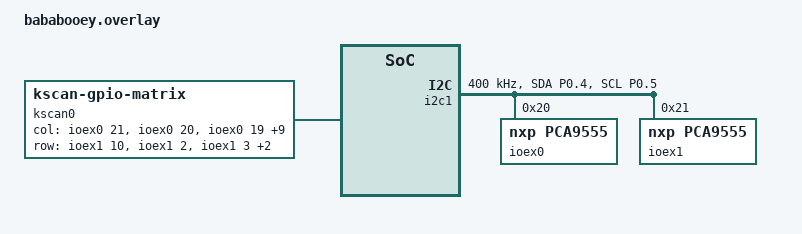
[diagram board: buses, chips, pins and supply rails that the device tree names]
&i2c1 {
    status = "okay";
    compatible = "nordic,nrf-twim";
    pinctrl-0 = <&i2c1_default>;
    pinctrl-1 = <&i2c1_sleep>;
    pinctrl-names = "default", "sleep";
    clock-frequency = <I2C_BITRATE_FAST>;

    ioex0: pca9555@20 {
        status = "okay";
        compatible = "nxp,pca9555";
        reg = <0x20>;
        gpio-controller;
        #gpio-cells = <2>;
        ngpios = <16>;
    };

    ioex1: pca9555@21 {
        status = "okay";
        compatible = "nxp,pca9555";
        reg = <0x21>;
        gpio-controller;
        #gpio-cells = <2>;
        ngpios = <16>;
    };
};

&pinctrl {
    i2c1_default: i2c1_default {
        group1 {
            psels = <NRF_PSEL(TWIM_SDA, 0, 4)>,
                <NRF_PSEL(TWIM_SCL, 0, 5)>;
        };
    };

    i2c1_sleep: i2c1_sleep {
        group1 {
            psels = <NRF_PSEL(TWIM_SDA, 0, 4)>,
                <NRF_PSEL(TWIM_SCL, 0, 5)>;
            low-power-enable;
        };
    };
};

/ {
    chosen {
        zmk,kscan = &kscan0;
    };

    kscan0: kscan_0 {
        compatible = "zmk,kscan-gpio-matrix";
        wakeup-source;
        diode-direction = "col2row";
        poll-period-ms = <5>;

        col-gpios
            = <&ioex0 21 GPIO_ACTIVE_HIGH> // col 0
            , <&ioex0 20 GPIO_ACTIVE_HIGH> // col 1
            , <&ioex0 19 GPIO_ACTIVE_HIGH> // col 2
            , <&ioex0 18 GPIO_ACTIVE_HIGH> // col 3
            , <&ioex0 15 GPIO_ACTIVE_HIGH> // col 4
            , <&ioex0 14 GPIO_ACTIVE_HIGH> // col 5
            , <&ioex0 16 GPIO_ACTIVE_HIGH> // col 6
            , <&ioex0 6 GPIO_ACTIVE_HIGH> // col 7
            , <&ioex0 7 GPIO_ACTIVE_HIGH> // col 8
            , <&ioex0 8 GPIO_ACTIVE_HIGH> // col 9
            , <&ioex0 9 GPIO_ACTIVE_HIGH> // col 10
            , <&ioex0 1 GPIO_ACTIVE_HIGH> // col 11
            ;

        row-gpios
            = <&ioex1 10 (GPIO_ACTIVE_HIGH | GPIO_PULL_DOWN)> // row 0
            , <&ioex1 2 (GPIO_ACTIVE_HIGH | GPIO_PULL_DOWN)> // row 1
            , <&ioex1 3 (GPIO_ACTIVE_HIGH | GPIO_PULL_DOWN)> // row 2
            , <&ioex1 4 (GPIO_ACTIVE_HIGH | GPIO_PULL_DOWN)> // row 3
            , <&ioex1 5 (GPIO_ACTIVE_HIGH | GPIO_PULL_DOWN)> // row 4
            ;
    };
};
